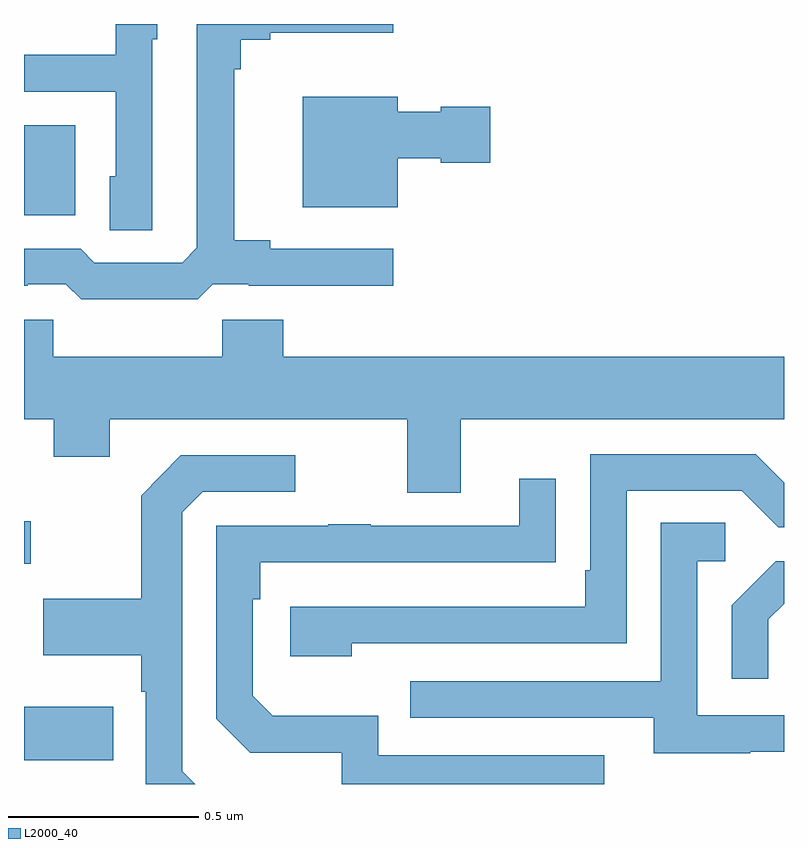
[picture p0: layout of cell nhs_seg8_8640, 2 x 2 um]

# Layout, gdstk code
import gdstk
lib = gdstk.Library(unit=1e-6, precision=1e-09)
def R(c, l, rs):  # rectangles x0, y0, x1, y1
    for r in rs: c.add(gdstk.rectangle(r[:2], r[2:], *l))
def P(c, l, *ps):  # polygons
    for p in ps: c.add(gdstk.Polygon(p, *l))
L2000_40 = (2000, 40)

nhs_seg8_8640 = lib.new_cell('nhs_seg8_8640')
R(nhs_seg8_8640, L2000_40, [(226,1088.963,226.235,1089.103), (226,1089.479,226.018,1089.592), (226,1090.397,226.135,1090.633)])
P(nhs_seg8_8640, L2000_40, [(226.338,1090.86),(226.351,1090.86),(226.351,1090.9),(226.242,1090.9),(226.242,1090.819),(226,1090.819),(226,1090.722),(226.242,1090.722),(226.242,1090.5),(226.226,1090.5),(226.226,1090.357),(226.338,1090.357)],
  [(226.497,1090.215),(226.591,1090.215),(226.591,1090.211),(226.972,1090.211),(226.972,1090.308),(226.648,1090.308),(226.648,1090.331),(226.553,1090.331),(226.553,1090.781),(226.571,1090.781),(226.571,1090.858),(226.648,1090.858),(226.648,1090.877),(226.972,1090.877),(226.972,1090.9),(226.455,1090.9),(226.455,1090.311),(226.416,1090.272),(226.185,1090.272),(226.149,1090.308),(226,1090.308),(226,1090.211),(226.01,1090.211),(226.01,1090.215),(226.11,1090.215),(226.15,1090.176),(226.457,1090.176)],
  [(226.984,1090.547),(227.097,1090.547),(227.097,1090.535),(227.227,1090.535),(227.227,1090.682),(227.097,1090.682),(227.097,1090.669),(226.984,1090.669),(226.984,1090.708),(226.733,1090.708),(226.733,1090.418),(226.984,1090.418)],
  [(227.149,1089.86),(228,1089.86),(228,1090.024),(226.682,1090.024),(226.682,1090.122),(226.522,1090.122),(226.522,1090.024),(226.077,1090.024),(226.077,1090.122),(226,1090.122),(226,1089.86),(226.078,1089.86),(226.078,1089.761),(226.225,1089.761),(226.225,1089.86),(227.009,1089.86),(227.009,1089.666),(227.149,1089.666)],
  [(226.862,1089.27),(227.586,1089.27),(227.586,1089.672),(227.889,1089.672),(227.985,1089.576),(228,1089.576),(228,1089.693),(227.925,1089.768),(227.49,1089.768),(227.49,1089.463),(227.477,1089.463),(227.477,1089.366),(226.701,1089.366),(226.701,1089.236),(226.862,1089.236)],
  [(226.416,1088.934),(226.416,1089.615),(226.47,1089.669),(226.714,1089.669),(226.714,1089.765),(226.413,1089.765),(226.308,1089.659),(226.308,1089.387),(226.051,1089.387),(226.051,1089.239),(226.308,1089.239),(226.308,1089.143),(226.32,1089.143),(226.32,1088.9),(226.45,1088.9)],
  [(227.527,1088.976),(226.932,1088.976),(226.932,1089.079),(226.655,1089.079),(226.602,1089.132),(226.602,1089.386),(226.622,1089.386),(226.622,1089.483),(227.297,1089.483),(227.297,1089.484),(227.399,1089.484),(227.399,1089.703),(227.303,1089.703),(227.303,1089.579),(226.913,1089.579),(226.913,1089.584),(226.801,1089.584),(226.801,1089.579),(226.506,1089.579),(226.506,1089.072),(226.596,1088.982),(226.836,1088.982),(226.836,1088.9),(227.527,1088.9)],
  [(227.911,1088.985),(228,1088.985),(228,1089.081),(227.772,1089.081),(227.772,1089.486),(227.845,1089.486),(227.845,1089.587),(227.676,1089.587),(227.676,1089.171),(227.017,1089.171),(227.017,1089.075),(227.657,1089.075),(227.657,1088.981),(227.911,1088.981)],
  [(227.959,1089.333),(228,1089.374),(228,1089.486),(227.978,1089.486),(227.862,1089.37),(227.862,1089.177),(227.959,1089.177)])

lib.write_gds('nhs_seg8_8640.gds')
